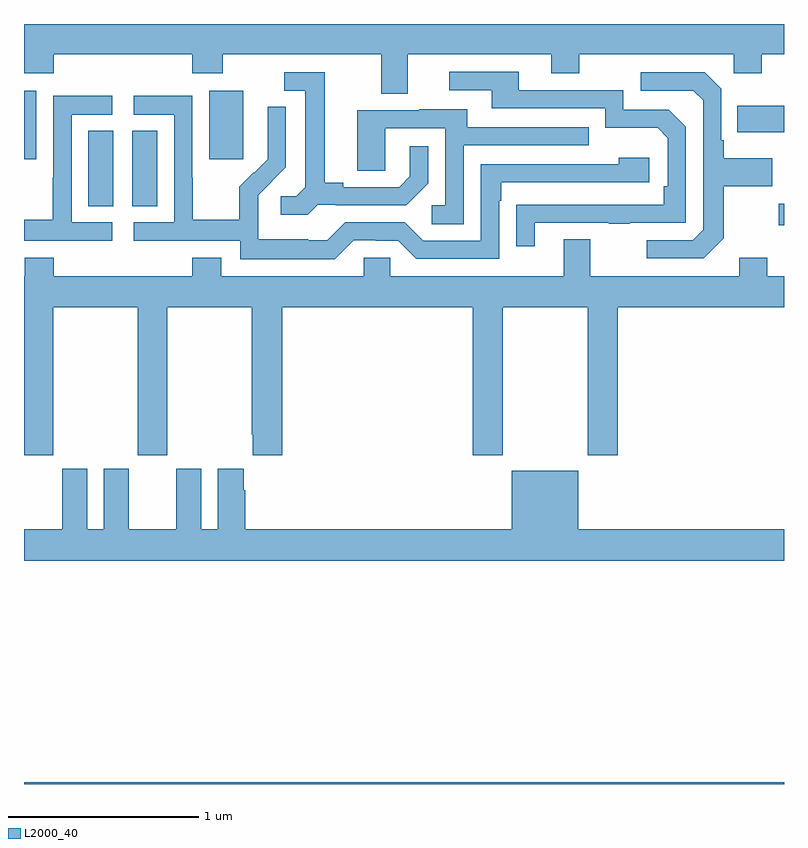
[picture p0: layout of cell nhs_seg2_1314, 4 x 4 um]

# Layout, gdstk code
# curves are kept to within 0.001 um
import gdstk
lib = gdstk.Library(unit=1e-6, precision=1e-09)
def R(c, l, rs):  # rectangles x0, y0, x1, y1
    for r in rs: c.add(gdstk.rectangle(r[:2], r[2:], *l))
def P(c, l, *ps):  # polygons
    for p in ps: c.add(gdstk.Polygon(p, *l))
L2000_40 = (2000, 40)

nhs_seg2_1314 = lib.new_cell('nhs_seg2_1314')
R(nhs_seg2_1314, L2000_40, [(179,639.8,183,639.808), (182.973,642.741,183,642.854), (179.339,642.841,179.47,643.238), (179.57,642.841,179.701,643.238), (179,643.089,179.065,643.45), (179.975,643.089,180.154,643.45), (182.755,643.229,183,643.369)])
P(nhs_seg2_1314, L2000_40, [(181.021,643.64),(181.775,643.64),(181.775,643.541),(181.923,643.541),(181.923,643.64),(182.736,643.64),(182.736,643.541),(182.883,643.541),(182.883,643.64),(183,643.64),(183,643.8),(179,643.8),(179,643.541),(179.156,643.541),(179.156,643.64),(179.885,643.64),(179.885,643.541),(180.045,643.541),(180.045,643.64),(180.881,643.64),(180.881,643.432),(181.021,643.432)],
  [(181.687,642.753),(182.077,642.753),(182.077,642.748),(182.189,642.748),(182.189,642.753),(182.484,642.753),(182.484,643.26),(182.394,643.35),(182.154,643.35),(182.154,643.452),(181.603,643.452),(181.603,643.548),(181.239,643.548),(181.239,643.452),(181.463,643.452),(181.463,643.356),(182.058,643.356),(182.058,643.253),(182.335,643.253),(182.388,643.2),(182.388,642.946),(182.368,642.946),(182.368,642.849),(181.591,642.848),(181.591,642.63),(181.687,642.63)],
  [(180.546,642.849),(180.64,642.849),(180.64,642.846),(181.012,642.846),(181.128,642.962),(181.128,643.156),(181.031,643.156),(181.031,642.999),(180.974,642.942),(180.679,642.942),(180.679,642.965),(180.583,642.965),(180.583,643.545),(180.369,643.545),(180.369,643.449),(180.479,643.449),(180.479,642.941),(180.432,642.894),(180.351,642.894),(180.351,642.797),(180.494,642.797)],
  [(182.683,642.673),(182.683,642.946),(182.939,642.946),(182.939,643.093),(182.683,643.093),(182.683,643.189),(182.67,643.189),(182.67,643.458),(182.583,643.545),(182.247,643.545),(182.247,643.449),(182.523,643.449),(182.574,643.398),(182.574,642.717),(182.52,642.663),(182.277,642.663),(182.277,642.567),(182.577,642.567)],
  [(180.735,642.663),(180.851,642.663),(180.851,642.66),(180.969,642.66),(181.065,642.564),(181.5,642.564),(181.5,642.869),(181.513,642.869),(181.513,642.966),(182.29,642.966),(182.29,643.096),(182.129,643.096),(182.129,643.062),(181.404,643.062),(181.404,642.66),(181.101,642.66),(181.005,642.756),(180.69,642.756),(180.597,642.663),(180.497,642.663),(180.497,642.667),(180.234,642.667),(180.234,642.801),(180.232,642.801),(180.232,642.898),(180.378,643.046),(180.378,643.364),(180.282,643.364),(180.282,643.21),(180.284,643.21),(180.284,643.088),(180.213,643.017),(180.21,643.02),(180.133,642.943),(180.133,642.769),(179.889,642.769),(179.889,642.992),(179.886,642.992),(179.886,643.422),(179.577,643.422),(179.577,643.323),(179.79,643.323),(179.79,642.756),(179.577,642.756),(179.577,642.66),(180.138,642.66),(180.138,642.563),(180.635,642.563)],
  [(179.464,642.756),(179.25,642.756),(179.25,643.323),(179.464,643.323),(179.464,643.422),(179.154,643.422),(179.154,642.992),(179.152,642.992),(179.152,642.769),(179,642.769),(179,642.66),(179.464,642.66)],
  [(181.314,643.161),(181.973,643.161),(181.973,643.257),(181.333,643.257),(181.333,643.351),(181.079,643.351),(181.079,643.347),(180.755,643.347),(180.755,643.027),(180.9,643.027),(180.9,643.251),(181.218,643.251),(181.218,642.846),(181.146,642.846),(181.146,642.745),(181.314,642.745)],
  [(179.154,642.308),(179.599,642.308),(179.599,641.529),(179.754,641.529),(179.754,642.308),(180.199,642.308),(180.199,641.641),(180.203,641.641),(180.203,641.529),(180.359,641.529),(180.359,642.308),(181.361,642.308),(181.361,641.529),(181.521,641.529),(181.521,642.308),(181.966,642.308),(181.966,641.529),(182.126,641.529),(182.126,642.308),(183,642.308),(183,642.472),(182.913,642.472),(182.913,642.571),(182.765,642.571),(182.765,642.472),(181.981,642.472),(181.981,642.667),(181.841,642.667),(181.841,642.472),(180.927,642.472),(180.927,642.57),(180.789,642.57),(180.789,642.472),(180.037,642.472),(180.037,642.571),(179.885,642.571),(179.885,642.472),(179.156,642.472),(179.156,642.571),(179.003,642.571),(179.003,642.472),(179,642.472),(179,641.529),(179.154,641.529)],
  [(183,641.14),(181.918,641.14),(181.918,641.449),(181.568,641.449),(181.568,641.14),(180.164,641.14),(180.164,641.345),(180.157,641.345),(180.157,641.458),(180.02,641.458),(180.02,641.14),(179.932,641.14),(179.932,641.458),(179.801,641.458),(179.801,641.14),(179.551,641.14),(179.551,641.458),(179.42,641.458),(179.42,641.14),(179.332,641.14),(179.332,641.458),(179.201,641.458),(179.201,641.14),(179,641.14),(179,640.976),(183,640.976)])

lib.write_gds('nhs_seg2_1314.gds')
